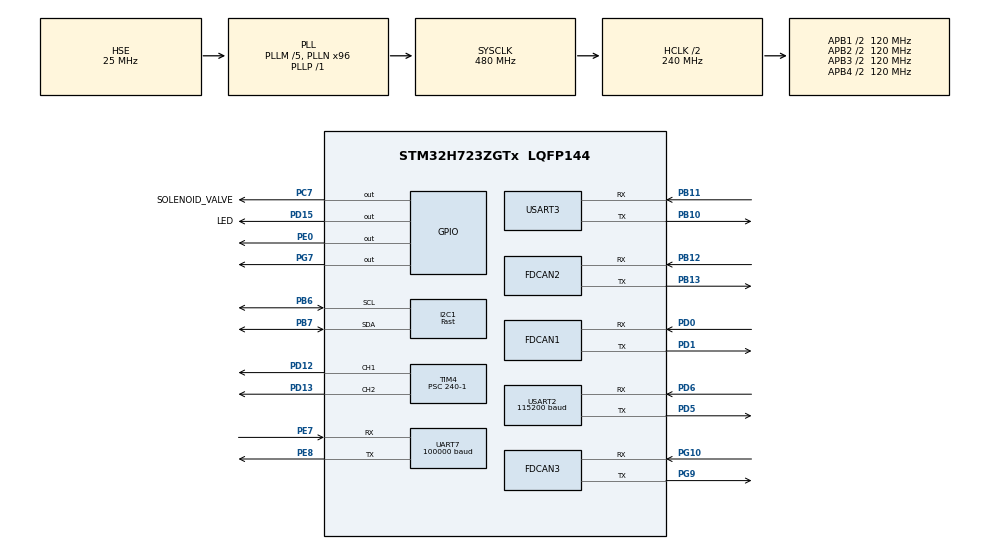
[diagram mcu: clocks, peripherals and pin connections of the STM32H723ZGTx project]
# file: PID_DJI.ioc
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CORTEX_M7.default_mode_Activation=1
Dma.Request0=USART3_RX
Dma.Request1=USART3_TX
Dma.Request2=UART7_RX
Dma.Request3=UART7_TX
Dma.Request4=USART2_RX
Dma.Request5=USART2_TX
Dma.UART7_RX.2.Direction=DMA_PERIPH_TO_MEMORY
Dma.UART7_RX.2.EventEnable=DISABLE
Dma.UART7_RX.2.FIFOMode=DMA_FIFOMODE_DISABLE
Dma.UART7_RX.2.Instance=DMA1_Stream2
Dma.UART7_RX.2.MemDataAlignment=DMA_MDATAALIGN_BYTE
Dma.UART7_RX.2.MemInc=DMA_MINC_ENABLE
Dma.UART7_RX.2.Mode=DMA_NORMAL
Dma.UART7_RX.2.PeriphDataAlignment=DMA_PDATAALIGN_BYTE
Dma.UART7_RX.2.PeriphInc=DMA_PINC_DISABLE
Dma.UART7_RX.2.Polarity=HAL_DMAMUX_REQ_GEN_RISING
Dma.UART7_RX.2.Priority=DMA_PRIORITY_LOW
Dma.UART7_RX.2.RequestNumber=1
Dma.UART7_RX.2.SignalID=NONE
Dma.UART7_RX.2.SyncEnable=DISABLE
Dma.UART7_RX.2.SyncPolarity=HAL_DMAMUX_SYNC_NO_EVENT
Dma.UART7_RX.2.SyncRequestNumber=1
Dma.UART7_RX.2.SyncSignalID=NONE
Dma.UART7_TX.3.Direction=DMA_MEMORY_TO_PERIPH
Dma.UART7_TX.3.EventEnable=DISABLE
Dma.UART7_TX.3.FIFOMode=DMA_FIFOMODE_DISABLE
Dma.UART7_TX.3.Instance=DMA1_Stream3
Dma.UART7_TX.3.MemDataAlignment=DMA_MDATAALIGN_BYTE
Dma.UART7_TX.3.MemInc=DMA_MINC_ENABLE
Dma.UART7_TX.3.Mode=DMA_NORMAL
Dma.UART7_TX.3.PeriphDataAlignment=DMA_PDATAALIGN_BYTE
Dma.UART7_TX.3.PeriphInc=DMA_PINC_DISABLE
Dma.UART7_TX.3.Polarity=HAL_DMAMUX_REQ_GEN_RISING
Dma.UART7_TX.3.Priority=DMA_PRIORITY_LOW
Dma.UART7_TX.3.RequestNumber=1
Dma.UART7_TX.3.SignalID=NONE
Dma.UART7_TX.3.SyncEnable=DISABLE
Dma.UART7_TX.3.SyncPolarity=HAL_DMAMUX_SYNC_NO_EVENT
Dma.UART7_TX.3.SyncRequestNumber=1
Dma.UART7_TX.3.SyncSignalID=NONE
Dma.USART2_RX.4.Direction=DMA_PERIPH_TO_MEMORY
Dma.USART2_RX.4.EventEnable=DISABLE
Dma.USART2_RX.4.FIFOMode=DMA_FIFOMODE_DISABLE
Dma.USART2_RX.4.Instance=DMA1_Stream4
Dma.USART2_RX.4.MemDataAlignment=DMA_MDATAALIGN_BYTE
Dma.USART2_RX.4.MemInc=DMA_MINC_ENABLE
Dma.USART2_RX.4.Mode=DMA_NORMAL
Dma.USART2_RX.4.PeriphDataAlignment=DMA_PDATAALIGN_BYTE
Dma.USART2_RX.4.PeriphInc=DMA_PINC_DISABLE
Dma.USART2_RX.4.Polarity=HAL_DMAMUX_REQ_GEN_RISING
Dma.USART2_RX.4.Priority=DMA_PRIORITY_LOW
Dma.USART2_RX.4.RequestNumber=1
Dma.USART2_RX.4.SignalID=NONE
Dma.USART2_RX.4.SyncEnable=DISABLE
Dma.USART2_RX.4.SyncPolarity=HAL_DMAMUX_SYNC_NO_EVENT
Dma.USART2_RX.4.SyncRequestNumber=1
Dma.USART2_RX.4.SyncSignalID=NONE
Dma.USART2_TX.5.Direction=DMA_MEMORY_TO_PERIPH
Dma.USART2_TX.5.EventEnable=DISABLE
Dma.USART2_TX.5.FIFOMode=DMA_FIFOMODE_DISABLE
Dma.USART2_TX.5.Instance=DMA1_Stream5
Dma.USART2_TX.5.MemDataAlignment=DMA_MDATAALIGN_BYTE
Dma.USART2_TX.5.MemInc=DMA_MINC_ENABLE
Dma.USART2_TX.5.Mode=DMA_NORMAL
Dma.USART2_TX.5.PeriphDataAlignment=DMA_PDATAALIGN_BYTE
Dma.USART2_TX.5.PeriphInc=DMA_PINC_DISABLE
Dma.USART2_TX.5.Polarity=HAL_DMAMUX_REQ_GEN_RISING
Dma.USART2_TX.5.Priority=DMA_PRIORITY_LOW
Dma.USART2_TX.5.RequestNumber=1
Dma.USART2_TX.5.SignalID=NONE
Dma.USART2_TX.5.SyncEnable=DISABLE
Dma.USART2_TX.5.SyncPolarity=HAL_DMAMUX_SYNC_NO_EVENT
Dma.USART2_TX.5.SyncRequestNumber=1
Dma.USART2_TX.5.SyncSignalID=NONE
Dma.USART3_RX.0.Direction=DMA_PERIPH_TO_MEMORY
Dma.USART3_RX.0.EventEnable=DISABLE
Dma.USART3_RX.0.FIFOMode=DMA_FIFOMODE_DISABLE
Dma.USART3_RX.0.Instance=DMA1_Stream0
Dma.USART3_RX.0.MemDataAlignment=DMA_MDATAALIGN_BYTE
Dma.USART3_RX.0.MemInc=DMA_MINC_ENABLE
Dma.USART3_RX.0.Mode=DMA_NORMAL
Dma.USART3_RX.0.PeriphDataAlignment=DMA_PDATAALIGN_BYTE
Dma.USART3_RX.0.PeriphInc=DMA_PINC_DISABLE
Dma.USART3_RX.0.Polarity=HAL_DMAMUX_REQ_GEN_RISING
Dma.USART3_RX.0.Priority=DMA_PRIORITY_LOW
Dma.USART3_RX.0.RequestNumber=1
Dma.USART3_RX.0.SignalID=NONE
Dma.USART3_RX.0.SyncEnable=DISABLE
Dma.USART3_RX.0.SyncPolarity=HAL_DMAMUX_SYNC_NO_EVENT
Dma.USART3_RX.0.SyncRequestNumber=1
Dma.USART3_RX.0.SyncSignalID=NONE
Dma.USART3_TX.1.Direction=DMA_MEMORY_TO_PERIPH
Dma.USART3_TX.1.EventEnable=DISABLE
Dma.USART3_TX.1.FIFOMode=DMA_FIFOMODE_DISABLE
Dma.USART3_TX.1.Instance=DMA1_Stream1
Dma.USART3_TX.1.MemDataAlignment=DMA_MDATAALIGN_BYTE
Dma.USART3_TX.1.MemInc=DMA_MINC_ENABLE
Dma.USART3_TX.1.Mode=DMA_NORMAL
Dma.USART3_TX.1.PeriphDataAlignment=DMA_PDATAALIGN_BYTE
Dma.USART3_TX.1.PeriphInc=DMA_PINC_DISABLE
Dma.USART3_TX.1.Polarity=HAL_DMAMUX_REQ_GEN_RISING
Dma.USART3_TX.1.Priority=DMA_PRIORITY_LOW
Dma.USART3_TX.1.RequestNumber=1
Dma.USART3_TX.1.SignalID=NONE
Dma.USART3_TX.1.SyncEnable=DISABLE
Dma.USART3_TX.1.SyncPolarity=HAL_DMAMUX_SYNC_NO_EVENT
Dma.USART3_TX.1.SyncRequestNumber=1
Dma.USART3_TX.1.SyncSignalID=NONE
FDCAN1.CalculateBaudRateNominal=1000000
FDCAN1.CalculateTimeBitNominal=1000
FDCAN1.CalculateTimeQuantumNominal=25.0
FDCAN1.DataPrescaler=3
FDCAN1.DataSyncJumpWidth=10
FDCAN1.DataTimeSeg1=29
FDCAN1.DataTimeSeg2=10
FDCAN1.NominalPrescaler=3
FDCAN1.NominalSyncJumpWidth=10
FDCAN1.NominalTimeSeg1=29
FDCAN1.NominalTimeSeg2=10
FDCAN1.ProtocolException=ENABLE
FDCAN1.RxFifo0ElmtsNbr=64
FDCAN1.StdFiltersNbr=1
FDCAN1.TxFifoQueueElmtsNbr=32
FDCAN2.CalculateBaudRateNominal=1000000
FDCAN2.CalculateTimeBitNominal=1000
FDCAN2.CalculateTimeQuantumNominal=25.0
FDCAN2.DataPrescaler=3
FDCAN2.DataSyncJumpWidth=10
FDCAN2.DataTimeSeg1=29
FDCAN2.DataTimeSeg2=10
FDCAN2.MessageRAMOffset=0x406
FDCAN2.NominalPrescaler=3
FDCAN2.NominalSyncJumpWidth=10
FDCAN2.NominalTimeSeg1=29
FDCAN2.NominalTimeSeg2=10
FDCAN2.ProtocolException=ENABLE
FDCAN2.RxFifo0ElmtsNbr=64
FDCAN2.StdFiltersNbr=1
FDCAN2.TxFifoQueueElmtsNbr=32
FDCAN3.CalculateBaudRateNominal=1000000
FDCAN3.CalculateTimeBitNominal=1000
FDCAN3.CalculateTimeQuantumNominal=25.0
FDCAN3.DataPrescaler=3
FDCAN3.DataSyncJumpWidth=10
FDCAN3.DataTimeSeg1=29
FDCAN3.DataTimeSeg2=10
FDCAN3.MessageRAMOffset=0x80C
FDCAN3.NominalPrescaler=3
FDCAN3.NominalSyncJumpWidth=10
FDCAN3.NominalTimeSeg1=29
FDCAN3.NominalTimeSeg2=10
FDCAN3.ProtocolException=ENABLE
FDCAN3.RxFifo0ElmtsNbr=64
FDCAN3.StdFiltersNbr=1
FDCAN3.TxFifoQueueElmtsNbr=32
I2C1.I2C_Speed_Mode=I2C_Fast
I2C1.Timing=0x00B03FDB
IWDG1.Prescaler=IWDG_PRESCALER_8
IWDG1.Reload=30
IWDG1.Window=30
Mcu.Family=STM32H7
Mcu.Name=STM32H723ZGTx
Mcu.Package=LQFP144
NVIC.DMA1_Stream0_IRQn=true\:0\:0\:false\:false\:true\:false\:true\:true
NVIC.DMA1_Stream1_IRQn=true\:0\:0\:false\:false\:true\:false\:true\:true
NVIC.DMA1_Stream2_IRQn=true\:0\:0\:false\:false\:true\:false\:true\:true
NVIC.DMA1_Stream3_IRQn=true\:0\:0\:false\:false\:true\:false\:true\:true
NVIC.DMA1_Stream4_IRQn=true\:0\:0\:false\:false\:true\:false\:true\:true
NVIC.DMA1_Stream5_IRQn=true\:0\:0\:false\:false\:true\:false\:true\:true
NVIC.FDCAN1_IT0_IRQn=true\:6\:0\:true\:false\:true\:true\:true\:true
NVIC.FDCAN2_IT0_IRQn=true\:6\:0\:true\:false\:true\:true\:true\:true
NVIC.FDCAN2_IT1_IRQn=true\:6\:0\:true\:false\:true\:true\:true\:true
NVIC.FDCAN3_IT0_IRQn=true\:0\:0\:false\:false\:true\:true\:true\:true
NVIC.FDCAN3_IT1_IRQn=true\:0\:0\:false\:false\:true\:true\:true\:true
NVIC.FDCAN_CAL_IRQn=true\:0\:0\:false\:false\:true\:true\:true\:true
NVIC.PriorityGroup=NVIC_PRIORITYGROUP_4
NVIC.TIM1_UP_IRQn=true\:15\:0\:false\:false\:true\:false\:true\:true
NVIC.TIM6_DAC_IRQn=true\:0\:0\:false\:false\:true\:true\:true\:true
NVIC.TIM7_IRQn=true\:0\:0\:false\:false\:true\:true\:true\:true
NVIC.TimeBase=TIM1_UP_IRQn
NVIC.TimeBaseIP=TIM1
NVIC.UART7_IRQn=true\:8\:0\:true\:false\:true\:true\:true\:true
NVIC.USART2_IRQn=true\:7\:0\:true\:false\:true\:true\:true\:true
NVIC.USART3_IRQn=true\:7\:0\:true\:false\:true\:true\:true\:true
PA13(JTMS/SWDIO).Mode=Serial_Wire
PA13(JTMS/SWDIO).Signal=DEBUG_JTMS-SWDIO
PA14(JTCK/SWCLK).Mode=Serial_Wire
PA14(JTCK/SWCLK).Signal=DEBUG_JTCK-SWCLK
PB10.Mode=Asynchronous
PB10.Signal=USART3_TX
PB11.Mode=Asynchronous
PB11.Signal=USART3_RX
PB12.Mode=FDCAN_Activate
PB12.Signal=FDCAN2_RX
PB13.Mode=FDCAN_Activate
PB13.Signal=FDCAN2_TX
PB6.Mode=I2C
PB6.Signal=I2C1_SCL
PB7.Mode=I2C
PB7.Signal=I2C1_SDA
PC14-OSC32_IN.Mode=LSE-External-Oscillator
PC14-OSC32_IN.Signal=RCC_OSC32_IN
PC15-OSC32_OUT.Mode=LSE-External-Oscillator
PC15-OSC32_OUT.Signal=RCC_OSC32_OUT
PC7.GPIO_Label=SOLENOID_VALVE
PC7.PinState=GPIO_PIN_SET
PC7.Signal=GPIO_Output
PD0.Mode=FDCAN_Activate
PD0.Signal=FDCAN1_RX
PD1.Mode=FDCAN_Activate
PD1.Signal=FDCAN1_TX
PD12.Signal=S_TIM4_CH1
PD13.Signal=S_TIM4_CH2
PD15.GPIO_Label=LED
PD15.Signal=GPIO_Output
PD5.Mode=Asynchronous
PD5.Signal=USART2_TX
PD6.Mode=Asynchronous
PD6.Signal=USART2_RX
PE0.Signal=GPIO_Output
PE7.Mode=Asynchronous
PE7.Signal=UART7_RX
PE8.Mode=Asynchronous
PE8.Signal=UART7_TX
PG10.Mode=FDCAN_Activate
PG10.Signal=FDCAN3_RX
PG7.GPIO_PuPd=GPIO_PULLUP
PG7.Signal=GPIO_Output
PG9.Mode=FDCAN_Activate
PG9.Signal=FDCAN3_TX
PH0-OSC_IN.Mode=HSE-External-Oscillator
PH0-OSC_IN.Signal=RCC_OSC_IN
PH1-OSC_OUT.Mode=HSE-External-Oscillator
PH1-OSC_OUT.Signal=RCC_OSC_OUT
ProjectManager.HeapSize=0x200
ProjectManager.StackSize=0x400
ProjectManager.TargetToolchain=MDK-ARM V5.32
RCC.ADCFreq_Value=50390625
RCC.APB1Freq_Value=120000000
RCC.APB2Freq_Value=120000000
RCC.APB3Freq_Value=120000000
RCC.APB4Freq_Value=120000000
RCC.CortexFreq_Value=480000000
RCC.D1PPRE=RCC_APB3_DIV2
RCC.D2PPRE1=RCC_APB1_DIV2
RCC.D2PPRE2=RCC_APB2_DIV2
RCC.D3PPRE=RCC_APB4_DIV2
RCC.DIVM1=5
RCC.DIVN1=96
RCC.DIVP1=1
RCC.DIVQ1=4
RCC.HCLKFreq_Value=240000000
RCC.HPRE=RCC_HCLK_DIV2
RCC.HSE_VALUE=25000000
RCC.PLLFRACN=0
RCC.PLLSourceVirtual=RCC_PLLSOURCE_HSE
RCC.SYSCLKFreq_VALUE=480000000
RCC.SYSCLKSource=RCC_SYSCLKSOURCE_PLLCLK
RCC.USBFreq_Value=120000000
SH.S_TIM4_CH1.0=TIM4_CH1,PWM Generation1 CH1
SH.S_TIM4_CH2.0=TIM4_CH2,PWM Generation2 CH2
TIM4.Channel-PWM\ Generation1\ CH1=TIM_CHANNEL_1
TIM4.Channel-PWM\ Generation2\ CH2=TIM_CHANNEL_2
TIM4.Period=20000-1
TIM4.Prescaler=240-1
TIM6.Period=1000
TIM6.Prescaler=240
TIM7.Period=1000
TIM7.Prescaler=240
UART7.BaudRate=100000
USART2.BaudRate=115200
USART2.VirtualMode-Asynchronous=VM_ASYNC
USART3.VirtualMode-Asynchronous=VM_ASYNC
VP_IWDG1_VS_IWDG.Mode=IWDG_Activate
VP_SYS_VS_tim1.Mode=TIM1
VP_TIM6_VS_ClockSourceINT.Mode=Enable_Timer
VP_TIM7_VS_ClockSourceINT.Mode=Enable_Timer
board=custom

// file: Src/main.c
/* USER CODE BEGIN Header */
/**
  ******************************************************************************
  * @file           : main.c
  * @brief          : Main program body
  ******************************************************************************
  * @attention
  *
  * Copyright (c) 2024 STMicroelectronics.
  * All rights reserved.
  *
  * This software is licensed under terms that can be found in the LICENSE file
  * in the root directory of this software component.
  * If no LICENSE file comes with this software, it is provided AS-IS.
  *
  ******************************************************************************
  */
/* USER CODE END Header */
#include "main.h"
#include "dma.h"
#include "fdcan.h"
#include "i2c.h"
#include "iwdg.h"
#include "tim.h"
#include "usart.h"
#include "gpio.h"

/* USER CODE BEGIN Includes */
#include "PID_MODEL.h"
#include "rtwtypes.h"
#include <math.h>
#include "bsp_fdcan.h"
#include "motorctrl.h"
#include "stdio.h"
#include "math.h"
#include "dm_motor_drv.h"
#include "dm_motor_ctrl.h"
#include "stdio.h"
#include "string.h"
#include "mpu6050.h"

/* USER CODE END Includes */

/* USER CODE BEGIN PTD */
extern motor_t motor[num];
extern uint8_t CAN_RECEIVE[3];
extern double deadband;
extern motor_measure_t *motor_data_can1[8];
extern motor_measure_t *motor_data_can2[8];
extern motor_measure_t *motor_data_can3[8];

extern IWDG_HandleTypeDef hiwdg1;
extern int Vel_Deadband[3];
extern double tor_output[3*8];
#define CUR      0
#define VEL      1
#define ANG      2

#define PI 3.1415926
#define m6020_2_1_init 5848
#define m6020_2_2_init 3021
#define m6020_2_3_init	3055
uint8_t active_can[10];
uint8_t shoot_flag[10]={0};
uint8_t dri_flag=0;
float tar[2];
/* USER CODE END PTD */

/* USER CODE BEGIN PM */

int theta_test[10];

uint8_t uart_index[2] = {0};
uint8_t buffer[100];
char UART2_TX_BUF[100];
uint8_t UART7_RX_BUF[100];
uint8_t UART2_RX_BUF[100];
uint8_t rx_datatemp[8];
int cnt[10];
int PinState=0;
uint8_t usart2_rec=0;
float float1, float2;
uint8_t upper_cnt=0;
float diff[2];
int m6020_init=0;
int flag=0;
int flag_x=0;
int cnt_x=0;
int ecd_count=0;
MPU6050_t MPU6050;
float gz_sum,gz_aver;
int cnt_gz=0;
float yaw;
int roat_ang=0;
/* USER CODE END PM */

void SystemClock_Config(void);
static void MPU_Config(void);

int main(void)
{

  /* MPU Configuration--------------------------------------------------------*/
  MPU_Config();

  /* MCU Configuration--------------------------------------------------------*/

  /* Reset of all peripherals, Initializes the Flash interface and the Systick. */
  HAL_Init();

  /* Configure the system clock */
  SystemClock_Config();

  /* Initialize all configured peripherals */
  MX_GPIO_Init();
  MX_DMA_Init();
  MX_TIM6_Init();
  MX_FDCAN2_Init();
  MX_USART2_UART_Init();
  MX_FDCAN3_Init();
  MX_USART3_UART_Init();
  MX_FDCAN1_Init();
  MX_UART7_Init();
  MX_IWDG1_Init();
  MX_TIM4_Init();
  MX_TIM7_Init();
  MX_I2C1_Init();
  /* USER CODE BEGIN 2 */
	HAL_TIM_PWM_Start(&htim4,TIM_CHANNEL_1);
	HAL_TIM_PWM_Start(&htim4,TIM_CHANNEL_2);

	HAL_TIM_Base_Start_IT(&htim6);
	HAL_TIM_Base_Start_IT(&htim7);

	HAL_UART_Receive_IT(&huart2, buffer+1, 1);

//  can_filter_init();
//	bsp_can_init();
  fdcan_filter_init(&hfdcan1);
	fdcan_filter_init(&hfdcan2);
  fdcan_filter_init(&hfdcan3);

	PID_MODEL_initialize();

	PID_Angle_S_Para_Init(2, 1 , 10 , 3 , 0.01);
  PID_Angle_A_Para_Init(2, 1 , 0.3 , 0 , 0);
	PID_Angle_S_Para_Init(2, 5 , 70 , 30 , 0.1);
	PID_Angle_A_Para_Init(2, 5 , 0.4 , 0 , 0);

	rtP.DX_P=0.01;//6020
	rtP.DX_I=0;
	rtP.DX_D=0;
	rtP.DY_P=0.2
	;
	rtP.DY_I=0;
	rtP.DY_D=0;

	Set_6020_Mode( 0 );
	set_mode( VEL, VEL, ANG, VEL, VEL, ANG, ANG,
            ANG, VEL, VEL, VEL, CUR, ANG, ANG,
					  ANG, VEL, VEL, VEL, ANG, ANG, ANG );

	memset(UART2_TX_BUF,0,sizeof(UART2_TX_BUF));
	while (MPU6050_Init(&hi2c1) == 1) ;

  /* USER CODE END 2 */

  /* Infinite loop */
  /* USER CODE BEGIN WHILE */
  while (1)
  {

		MPU6050_Read_All(&hi2c1, &MPU6050);
		if(cnt_gz<10000){
			gz_sum+=MPU6050.Gz;
			gz_aver=gz_sum/cnt_gz;
			cnt_gz++;
		}
		if (motor_data_can2[4]->activate) {
				if (motor_data_can2[4]->ecd == motor_data_can2[4]->last_ecd) {
						ecd_count++;
				} else {
						ecd_count = 0;
						motor_data_can2[4]->last_ecd = motor_data_can2[4]->ecd;
				}

				if (ecd_count >= 10 && flag == 0) {
						m6020_init = motor_data_can2[4]->ecd + motor_data_can2[4]->circle * 8191;
						rtU.status_CH2_5=ANG;
						flag = 1;
				}
		}
    if(flag == 1&&flag_x==0){
      if(float1==-999&&float2==-999){
				roat_ang+=2;
      }
			else{
				cnt_x++;
				if(cnt_x==10)
					flag_x=1;
			}

		}

		HAL_Delay (1);

    /* USER CODE END WHILE */

  }
}

void SystemClock_Config(void)
{
  RCC_OscInitTypeDef RCC_OscInitStruct = {0};
  RCC_ClkInitTypeDef RCC_ClkInitStruct = {0};

  /** Supply configuration update enable
  */
  HAL_PWREx_ConfigSupply(PWR_LDO_SUPPLY);

  /** Configure the main internal regulator output voltage
  */
  __HAL_PWR_VOLTAGESCALING_CONFIG(PWR_REGULATOR_VOLTAGE_SCALE0);

  while(!__HAL_PWR_GET_FLAG(PWR_FLAG_VOSRDY)) {}

  /** Initializes the RCC Oscillators according to the specified parameters
  * in the RCC_OscInitTypeDef structure.
  */
  RCC_OscInitStruct.OscillatorType = RCC_OSCILLATORTYPE_LSI|RCC_OSCILLATORTYPE_HSE;
  RCC_OscInitStruct.HSEState = RCC_HSE_ON;
  RCC_OscInitStruct.LSIState = RCC_LSI_ON;
  RCC_OscInitStruct.PLL.PLLState = RCC_PLL_ON;
  RCC_OscInitStruct.PLL.PLLSource = RCC_PLLSOURCE_HSE;
  RCC_OscInitStruct.PLL.PLLM = 5;
  RCC_OscInitStruct.PLL.PLLN = 96;
  RCC_OscInitStruct.PLL.PLLP = 1;
  RCC_OscInitStruct.PLL.PLLQ = 4;
  RCC_OscInitStruct.PLL.PLLR = 2;
  RCC_OscInitStruct.PLL.PLLRGE = RCC_PLL1VCIRANGE_2;
  RCC_OscInitStruct.PLL.PLLVCOSEL = RCC_PLL1VCOWIDE;
  RCC_OscInitStruct.PLL.PLLFRACN = 0;
  if (HAL_RCC_OscConfig(&RCC_OscInitStruct) != HAL_OK)
  {
    Error_Handler();
  }

  /** Initializes the CPU, AHB and APB buses clocks
  */
  RCC_ClkInitStruct.ClockType = RCC_CLOCKTYPE_HCLK|RCC_CLOCKTYPE_SYSCLK
                              |RCC_CLOCKTYPE_PCLK1|RCC_CLOCKTYPE_PCLK2
                              |RCC_CLOCKTYPE_D3PCLK1|RCC_CLOCKTYPE_D1PCLK1;
  RCC_ClkInitStruct.SYSCLKSource = RCC_SYSCLKSOURCE_PLLCLK;
  RCC_ClkInitStruct.SYSCLKDivider = RCC_SYSCLK_DIV1;
  RCC_ClkInitStruct.AHBCLKDivider = RCC_HCLK_DIV2;
  RCC_ClkInitStruct.APB3CLKDivider = RCC_APB3_DIV2;
  RCC_ClkInitStruct.APB1CLKDivider = RCC_APB1_DIV2;
  RCC_ClkInitStruct.APB2CLKDivider = RCC_APB2_DIV2;
  RCC_ClkInitStruct.APB4CLKDivider = RCC_APB4_DIV2;

  if (HAL_RCC_ClockConfig(&RCC_ClkInitStruct, FLASH_LATENCY_3) != HAL_OK)
  {
    Error_Handler();
  }
}

/* USER CODE BEGIN 4 */
//2*F9 2*F0
void HAL_UART_RxCpltCallback(UART_HandleTypeDef *huart)
{
    if (huart->Instance == USART2)
    {

        if (uart_index[1] == 0)
        {
            if (buffer[1] == 0xF9)
            {
                UART2_RX_BUF[uart_index[1]++] = buffer[1];
            }

        }
        else if (uart_index[1] == 1)
        {
            if (buffer[1] == 0xF9)
            {
                UART2_RX_BUF[uart_index[1]++] = buffer[1];
            }
            else
            {
                uart_index[1] = 0;
            }
        }
        else
        {
            UART2_RX_BUF[uart_index[1]++] = buffer[1];
            if (uart_index[1] == 13)
            {

                uart_index[1] = 0;

                if (UART2_RX_BUF[0] == 0xF9 && UART2_RX_BUF[1] == 0xF9 &&
                    UART2_RX_BUF[11] == 0xF0 && UART2_RX_BUF[12] == 0xF0)
                {
										upper_cnt=UART2_RX_BUF[10];
                    memcpy(&float1, &UART2_RX_BUF[2], sizeof(float));
                    memcpy(&float2, &UART2_RX_BUF[6], sizeof(float));

									if(float1!=-999){
										rtU.x_diff=float1;
										if(fabs(float1)>13)
											rtP.DX_P=0.05;
										else if(fabs(float1)>3&&fabs(float1)<=13)
											rtP.DX_P=0.02;//6020
										else if(fabs(float1)<=3)
											rtP.DX_P=0.005;//6020

									}
									else
										rtU.x_diff=0;
									if(float2!=-999){
										rtU.y_diff=float2;
										if(fabs(float2)>10)
											rtP.DY_P=2;
										else if(fabs(float2)>2&&fabs(float2)<=10)
											rtP.DY_P=0.4;
										else if(fabs(float2)<=2)
											rtP.DY_P=0.2;
									}
										else
										rtU.y_diff=0;

									HAL_UART_Transmit_IT(&huart2,UART2_RX_BUF,13);
                }

            }
        }

        HAL_UART_Receive_IT(&huart2, buffer + 1, 1);
    }
}
void HAL_UART_ErrorCallback(UART_HandleTypeDef *huart)
{

  if (huart->Instance == USART2)
  {
    HAL_UART_Receive_IT(&huart2, buffer, 1);
  }
}

/* USER CODE END 4 */

 /* MPU Configuration */

void MPU_Config(void)
{
  MPU_Region_InitTypeDef MPU_InitStruct = {0};

  /* Disables the MPU */
  HAL_MPU_Disable();

  /** Initializes and configures the Region and the memory to be protected
  */
  MPU_InitStruct.Enable = MPU_REGION_ENABLE;
  MPU_InitStruct.Number = MPU_REGION_NUMBER0;
  MPU_InitStruct.BaseAddress = 0x0;
  MPU_InitStruct.Size = MPU_REGION_SIZE_4GB;
  MPU_InitStruct.SubRegionDisable = 0x87;
  MPU_InitStruct.TypeExtField = MPU_TEX_LEVEL0;
  MPU_InitStruct.AccessPermission = MPU_REGION_NO_ACCESS;
  MPU_InitStruct.DisableExec = MPU_INSTRUCTION_ACCESS_DISABLE;
  MPU_InitStruct.IsShareable = MPU_ACCESS_SHAREABLE;
  MPU_InitStruct.IsCacheable = MPU_ACCESS_NOT_CACHEABLE;
  MPU_InitStruct.IsBufferable = MPU_ACCESS_NOT_BUFFERABLE;

  HAL_MPU_ConfigRegion(&MPU_InitStruct);
  /* Enables the MPU */
  HAL_MPU_Enable(MPU_PRIVILEGED_DEFAULT);

}

void HAL_TIM_PeriodElapsedCallback(TIM_HandleTypeDef *htim)
{
  if (htim->Instance == TIM1) {
    HAL_IncTick();
  }
  /* USER CODE BEGIN Callback 1 */
  if (htim->Instance == TIM6)
  {
		if(	rtU.status_CH2_5==ANG){
			set_target(2,1,tar[0]);
			set_target(2,5,tar[1]+m6020_init-yaw*8191/360+roat_ang);//6020
		}
    cnt[0]++;
		HAL_IWDG_Refresh(&hiwdg1);//feed the IWG
		diff[0]=-rtY.Y_OUT;
		diff[1]=+rtY.X_OUT;
		if(fabs(float2)>1.0f)
			tar[0]-=rtY.Y_OUT;
		if(fabs(float1)>0.5f)
			tar[1]+=rtY.X_OUT;

		HAL_GPIO_WritePin(LED_GPIO_Port,LED_Pin,(GPIO_PinState)1);

		get_msgn();
		assign_output();
    motor_state_update();
		set_reset_status();
		PID_MODEL_step();
		cnt[1]++;
		if(cnt[1]==500){
			HAL_GPIO_TogglePin(GPIOG,GPIO_PIN_7);
			cnt[1]=0;
		}

  }

	 if (htim->Instance == TIM7)
	{

		}
  /* USER CODE END Callback 1 */
}

void Error_Handler(void)
{
  __disable_irq();
  while (1)
  {
  }
}
